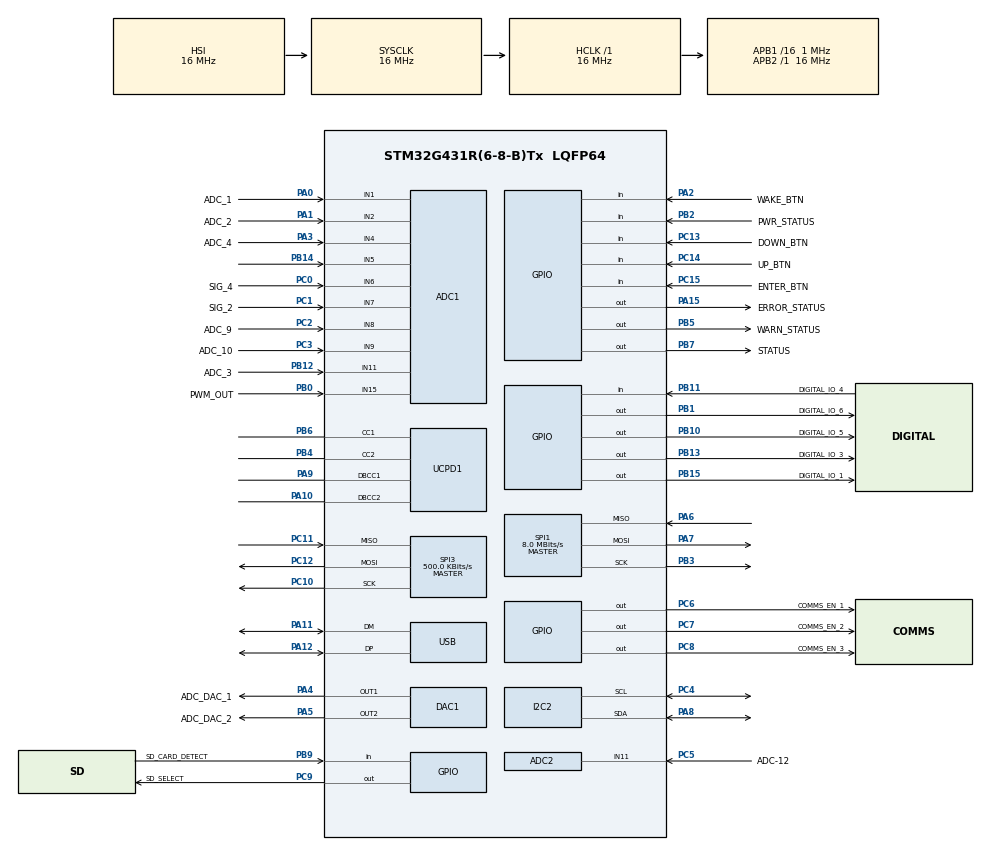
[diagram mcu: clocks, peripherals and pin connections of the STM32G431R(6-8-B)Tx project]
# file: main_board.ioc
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ADC1.Channel-0\#ChannelRegularConversion=ADC_CHANNEL_1
ADC1.NbrOfConversionFlag=1
ADC1.OffsetNumber-0\#ChannelRegularConversion=ADC_OFFSET_NONE
ADC1.Rank-0\#ChannelRegularConversion=1
ADC1.SamplingTime-0\#ChannelRegularConversion=ADC_SAMPLETIME_2CYCLES_5
ADC1.master=1
ADC2.Channel-0\#ChannelRegularConversion=ADC_CHANNEL_11
ADC2.NbrOfConversionFlag=1
ADC2.OffsetNumber-0\#ChannelRegularConversion=ADC_OFFSET_NONE
ADC2.Rank-0\#ChannelRegularConversion=1
ADC2.SamplingTime-0\#ChannelRegularConversion=ADC_SAMPLETIME_2CYCLES_5
DAC1.DAC_Channel-DAC_OUT2=DAC_CHANNEL_2
I2C2.Timing=0x00000103
Mcu.Family=STM32G4
Mcu.Name=STM32G431R(6-8-B)Tx
Mcu.Package=LQFP64
NVIC.PriorityGroup=NVIC_PRIORITYGROUP_4
PA0.GPIO_Label=ADC_1
PA0.Mode=IN1-Single-Ended
PA0.Signal=ADC1_IN1
PA1.GPIO_Label=ADC_2
PA1.Mode=IN2-Single-Ended
PA1.Signal=ADC1_IN2
PA10.Mode=EnableDeadBattery
PA10.Signal=UCPD1_DBCC2
PA11.Mode=Device
PA11.Signal=USB_DM
PA12.Mode=Device
PA12.Signal=USB_DP
PA13.Mode=Serial_Wire
PA13.Signal=SYS_JTMS-SWDIO
PA14.Mode=Serial_Wire
PA14.Signal=SYS_JTCK-SWCLK
PA15.GPIO_Label=ERROR_STATUS
PA15.GPIO_ModeDefaultOutputPP=GPIO_MODE_OUTPUT_PP
PA15.GPIO_PuPd=GPIO_PULLDOWN
PA15.Signal=GPIO_Output
PA2.GPIO_Label=WAKE_BTN
PA2.Signal=GPIO_Input
PA3.GPIO_Label=ADC_4
PA3.Mode=IN4-Single-Ended
PA3.Signal=ADC1_IN4
PA4.GPIO_Label=ADC_DAC_1
PA4.Signal=COMP_DAC11_group
PA5.GPIO_Label=ADC_DAC_2
PA5.Signal=COMP_DAC12_group
PA6.Mode=Full_Duplex_Master
PA6.Signal=SPI1_MISO
PA7.Mode=Full_Duplex_Master
PA7.Signal=SPI1_MOSI
PA8.Mode=I2C
PA8.Signal=I2C2_SDA
PA9.Mode=EnableDeadBattery
PA9.Signal=UCPD1_DBCC1
PB0.GPIO_Label=PWM_OUT
PB0.Mode=IN15-Single-Ended
PB0.Signal=ADC1_IN15
PB1.GPIO_Label=DIGITAL_IO_6
PB1.Signal=GPIO_Output
PB10.GPIO_Label=DIGITAL_IO_5
PB10.Signal=GPIO_Output
PB11.GPIO_Label=DIGITAL_IO_4
PB11.Signal=GPIO_Input
PB12.GPIO_Label=ADC_3
PB12.Mode=IN11-Single-Ended
PB12.Signal=ADC1_IN11
PB13.GPIO_Label=DIGITAL_IO_3
PB13.Signal=GPIO_Output
PB14.Mode=IN5-Single-Ended
PB14.Signal=ADC1_IN5
PB15.GPIO_Label=DIGITAL_IO_1
PB15.Signal=GPIO_Output
PB2.GPIO_Label=PWR_STATUS
PB2.Signal=GPIO_Input
PB3.Signal=SharedStack_PB3
PB3.Stacked=true
PB4.Mode=Sink_AllSignals
PB4.Signal=UCPD1_CC2
PB5.GPIO_Label=WARN_STATUS
PB5.GPIO_PuPd=GPIO_PULLDOWN
PB5.Signal=GPIO_Output
PB6.Mode=Sink_AllSignals
PB6.Signal=UCPD1_CC1
PB7.GPIO_Label=STATUS
PB7.GPIO_PuPd=GPIO_PULLDOWN
PB7.Signal=GPIO_Output
PB9.GPIO_Label=SD_CARD_DETECT
PB9.Signal=GPIO_Input
PC0.GPIO_Label=SIG_4
PC0.Mode=IN6-Single-Ended
PC0.Signal=ADC1_IN6
PC1.GPIO_Label=SIG_2
PC1.Mode=IN7-Single-Ended
PC1.Signal=ADC1_IN7
PC10.Mode=Full_Duplex_Master
PC10.Signal=SPI3_SCK
PC11.Mode=Full_Duplex_Master
PC11.Signal=SPI3_MISO
PC12.Mode=Full_Duplex_Master
PC12.Signal=SPI3_MOSI
PC13.GPIO_Label=DOWN_BTN
PC13.Signal=GPIO_Input
PC14-OSC32_IN.GPIO_Label=UP_BTN
PC14-OSC32_IN.Signal=GPIO_Input
PC15-OSC32_OUT.GPIO_Label=ENTER_BTN
PC15-OSC32_OUT.Signal=GPIO_Input
PC2.GPIO_Label=ADC_9
PC2.Mode=IN8-Single-Ended
PC2.Signal=ADC1_IN8
PC3.GPIO_Label=ADC_10
PC3.Mode=IN9-Single-Ended
PC3.Signal=ADC1_IN9
PC4.Mode=I2C
PC4.Signal=I2C2_SCL
PC5.GPIO_Label=ADC-12
PC5.Mode=IN11-Single-Ended
PC5.Signal=ADC2_IN11
PC6.GPIO_Label=COMMS_EN_1
PC6.Signal=GPIO_Output
PC7.GPIO_Label=COMMS_EN_2
PC7.Signal=GPIO_Output
PC8.GPIO_Label=COMMS_EN_3
PC8.Signal=GPIO_Output
PC9.GPIO_Label=SD_SELECT
PC9.Signal=GPIO_Output
PF0-OSC_IN.Mode=HSE-External-Oscillator
PF0-OSC_IN.Signal=RCC_OSC_IN
PF1-OSC_OUT.Mode=HSE-External-Oscillator
PF1-OSC_OUT.Signal=RCC_OSC_OUT
ProjectManager.HeapSize=0x200
ProjectManager.StackSize=0x400
ProjectManager.TargetToolchain=STM32CubeIDE
RCC.AHBFreq_Value=16000000
RCC.APB1CLKDivider=RCC_HCLK_DIV16
RCC.APB1Freq_Value=1000000
RCC.APB1TimFreq_Value=2000000
RCC.APB2Freq_Value=16000000
RCC.APB2TimFreq_Value=16000000
RCC.CortexFreq_Value=16000000
RCC.EXTERNAL_CLOCK_VALUE=12288000
RCC.HCLKFreq_Value=16000000
RCC.HSE_VALUE=8000000
RCC.HSI48_VALUE=48000000
RCC.HSI_VALUE=16000000
RCC.LSE_VALUE=32768
RCC.PLLN=12
RCC.PLLQ=RCC_PLLQ_DIV4
RCC.SYSCLKFreq_VALUE=16000000
RCC.USBFreq_Value=48000000
RCC.VCOOutputFreq_Value=192000000
SH.COMP_DAC11_group.0=DAC1_OUT1,DAC_OUT1
SH.COMP_DAC12_group.0=DAC1_OUT2,DAC_OUT2
SH.SharedStack_PB3.0=SPI1_SCK,Full_Duplex_Master
SH.SharedStack_PB3.1=SYS_JTDO-SWO
SPI1.CalculateBaudRate=8.0 MBits/s
SPI1.DataSize=SPI_DATASIZE_8BIT
SPI1.Direction=SPI_DIRECTION_2LINES
SPI1.Mode=SPI_MODE_MASTER
SPI1.VirtualType=VM_MASTER
SPI3.CalculateBaudRate=500.0 KBits/s
SPI3.Direction=SPI_DIRECTION_2LINES
SPI3.Mode=SPI_MODE_MASTER
SPI3.VirtualType=VM_MASTER
VP_ADC1_Vbat_Input.Mode=IN-Vbat
VP_SYS_VS_DBSignals.Mode=DisableDeadBatterySignals
board=custom

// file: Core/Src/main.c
/* USER CODE BEGIN Header */
/**
  ******************************************************************************
  * @file           : main.c
  * @brief          : Main program body
  ******************************************************************************
  * @attention
  *
  * Copyright (c) 2024 STMicroelectronics.
  * All rights reserved.
  *
  * This software is licensed under terms that can be found in the LICENSE file
  * in the root directory of this software component.
  * If no LICENSE file comes with this software, it is provided AS-IS.
  *
  ******************************************************************************
  */
/* USER CODE END Header */
#include "main.h"
#include "adc.h"
#include "dac.h"
#include "i2c.h"
#include "spi.h"
#include "ucpd.h"
#include "usb.h"
#include "gpio.h"

#define MCP9804_ADDR 0b0011100 // the last 3 digits change for each pin
#define MCP9804_REG_TEMP 0x05

uint16_t Size = 8;

/*FATFS SDFatFs;    // File system object for SD card logical drive
FIL MyFile;       // File object
char SDPath[4];   // SD card logical drive path*/
/* USER CODE BEGIN PV */
static void MX_SDMMC1_SD_Init(void);

int32_t readMCP9804Temp(void) {
    uint8_t tempReg[2] = {0};
    //HAL_I2C_Mem_Read(&hi2c2, MCP9804_ADDR, MCP9804_REG_TEMP, I2C_MEMADD_SIZE_8BIT, tempReg, 2, HAL_MAX_DELAY); // unchecked. &hi2c2 depends on what conector to chip
    HAL_I2C_Master_Receive(&hi2c2, MCP9804_ADDR, &tempReg, Size,  HAL_MAX_DELAY);
    uint16_t tempRaw = (tempReg[0] << 8) | tempReg[1];
    tempRaw &= 0x0FFF;  // Clear flags and keep 12 bits

    int32_t tempC = tempRaw & 0x0FFF;
    tempC /= 16.0;

    if (tempRaw & 0x1000) {  // Check sign bit
        tempC -= 256.0;
    }

    return tempC;
}

/* USER CODE END PV */

void SystemClock_Config(void);

I2C_HandleTypeDef hi2c1;

int main(void)
{

  /* MCU Configuration--------------------------------------------------------*/

  /* Reset of all peripherals, Initializes the Flash interface and the Systick. */
  HAL_Init();

  /* Configure the system clock */
  SystemClock_Config();

  /* Initialize all configured peripherals */
  MX_GPIO_Init();
  MX_ADC1_Init();
  MX_ADC2_Init();
  MX_DAC1_Init();
  MX_SPI1_Init();
  MX_SPI3_Init();
  MX_UCPD1_Init();
  MX_USB_PCD_Init();
  MX_I2C2_Init();
  /* USER CODE BEGIN 2 */
  /*int32_t SDwrite;
  UINT bytesWritten;*/

  uint32_t status = HAL_ERROR;

  uint8_t dataToSend = 0x5; // Example data

  int32_t temp;

  HAL_StatusTypeDef sts = HAL_OK;

  HAL_GPIO_WritePin(STATUS_GPIO_Port, STATUS_Pin, GPIO_PIN_SET); // Turn off success LED
  HAL_GPIO_WritePin(WARN_STATUS_GPIO_Port, WARN_STATUS_Pin, GPIO_PIN_SET); // Turn off error LED
  HAL_GPIO_WritePin(ERROR_STATUS_GPIO_Port, ERROR_STATUS_Pin, GPIO_PIN_SET); // Turn off error LED

  if (HAL_I2C_Init(&hi2c1) != HAL_OK) {
          // Initialization error
	  HAL_GPIO_WritePin(STATUS_GPIO_Port, STATUS_Pin, GPIO_PIN_RESET); // Turn off success LED
      }
  uint8_t tempRegAddr = 0x05;
  /* USER CODE END 2 */

  /* Infinite loop */
  /* USER CODE BEGIN WHILE */
  while (1)
  {// mototola or TIS versions who knows which is on or compatable with arduino due to (Frame Formats) for spi
    /* USER CODE END WHILE */
	  /*if (HAL_GPIO_ReadPin(GPIOC, GPIO_PIN_14))
	  {
		  HAL_GPIO_WritePin(GPIOB, GPIO_PIN_15, GPIO_PIN_RESET);
	  }
	  else
	  {
		  HAL_GPIO_WritePin(GPIOB, GPIO_PIN_15, GPIO_PIN_SET);
	  }*/

	HAL_Delay(1000);
	HAL_GPIO_WritePin(GPIOC, GPIO_PIN_8, GPIO_PIN_SET); // CS low Digital IO 1 COMM_EN_3
	status = HAL_SPI_Transmit(&hspi1, &dataToSend, 1, HAL_MAX_DELAY);  // Transmit is unsuccessful??? maybe working but no output on arduino
	HAL_GPIO_WritePin(GPIOC, GPIO_PIN_8, GPIO_PIN_RESET); // CS high Digital IO 1 COMM_EN_3

	if (status == HAL_OK)
	{
		HAL_GPIO_WritePin(STATUS_GPIO_Port, STATUS_Pin, GPIO_PIN_RESET); // Turn on success LED
		HAL_GPIO_WritePin(WARN_STATUS_GPIO_Port, WARN_STATUS_Pin, GPIO_PIN_SET); // Turn of error LED
		HAL_GPIO_WritePin(ERROR_STATUS_GPIO_Port, ERROR_STATUS_Pin, GPIO_PIN_SET); // Turn of error LED
	} else if (status == HAL_BUSY){
		HAL_GPIO_WritePin(ERROR_STATUS_GPIO_Port, ERROR_STATUS_Pin, GPIO_PIN_SET); // Turn of error LED
		HAL_GPIO_WritePin(WARN_STATUS_GPIO_Port, WARN_STATUS_Pin, GPIO_PIN_RESET); // Turn on error LED
		HAL_GPIO_WritePin(STATUS_GPIO_Port, STATUS_Pin, GPIO_PIN_SET); // Turn of success LED
	}
	else
	{
		HAL_GPIO_WritePin(ERROR_STATUS_GPIO_Port, ERROR_STATUS_Pin, GPIO_PIN_RESET); // Turn on error LED
		HAL_GPIO_WritePin(WARN_STATUS_GPIO_Port, WARN_STATUS_Pin, GPIO_PIN_SET); // Turn of error LED
		HAL_GPIO_WritePin(STATUS_GPIO_Port, STATUS_Pin, GPIO_PIN_SET); // Turn of success LED
	}

	/*
	HAL_Delay(1000);
	uint8_t tempData[2] = {0};
	if (HAL_I2C_Master_Transmit(&hi2c1, MCP9804_ADDR, &tempRegAddr, 1, HAL_MAX_DELAY) != HAL_OK) { // transmit is successfull
		// Transmission error
		HAL_GPIO_WritePin(ERROR_STATUS_GPIO_Port, ERROR_STATUS_Pin, GPIO_PIN_RESET); // Turn on success LED
	}

	// Receive the temperature data
	//if (HAL_I2C_Master_Receive(&hi2c1, MCP9804_ADDR, tempData, 2, HAL_MAX_DELAY) != HAL_OK) { // Receive is unsuccessfull
		// Reception error
		//HAL_GPIO_WritePin(WARN_STATUS_GPIO_Port, WARN_STATUS_Pin, GPIO_PIN_RESET); // Turn on error LED
	//}
	uint16_t rawTemp = (tempData[0] << 8) | tempData[1];
	if (HAL_I2C_IsDeviceReady (&hi2c1, MCP9804_ADDR, 1, HAL_MAX_DELAY) != HAL_OK) { // Ready is unsuccessfull
			// Reception error
			HAL_GPIO_WritePin(WARN_STATUS_GPIO_Port, WARN_STATUS_Pin, GPIO_PIN_RESET); // Turn on error LED
		}
	*/

	/*
	uint8_t tempReg[2] = {0};

	sts = HAL_I2C_Master_Receive(&hi2c2, MCP9804_ADDR, &tempReg, Size,  HAL_MAX_DELAY);
	uint16_t tempRaw = (tempReg[0] << 8) | tempReg[1];
	tempRaw &= 0x0FFF;  // Clear flags and keep 12 bits

	int32_t tempC = tempRaw & 0x0FFF;
	tempC /= 16.0;

	if (tempRaw & 0x1000) {  // Check sign bit
	  tempC -= 256.0;
	}
	*/
	  /*
	HAL_GPIO_WritePin(GPIOB, GPIO_PIN_15, GPIO_PIN_SET); // CS high Digital IO 1
    status = HAL_SPI_Transmit(&hspi1, &dataToSend, 1, HAL_MAX_DELAY);
    HAL_GPIO_WritePin(GPIOB, GPIO_PIN_15, GPIO_PIN_RESET); // CS high Digital IO 0
	HAL_I2C_Mem_Read(&hi2c2, MCP9804_ADDR, MCP9804_REG_TEMP, I2C_MEMADD_SIZE_8BIT, tempReg, 2, HAL_MAX_DELAY); // unchecked. &hi2c2 depends on what conector to chip
	if (sts == HAL_OK)
	{
	HAL_GPIO_WritePin(ERROR_STATUS_GPIO_Port, ERROR_STATUS_Pin, GPIO_PIN_RESET); // Turn on success LED
	}
	else
	{
	HAL_GPIO_WritePin(WARN_STATUS_GPIO_Port, WARN_STATUS_Pin, GPIO_PIN_RESET); // Turn on error LED
	}

	/*if (tempC >= 0)
	{
	HAL_GPIO_WritePin(STATUS_GPIO_Port, STATUS_Pin, GPIO_PIN_RESET); // Turn on success LED
	}
	else
	{
	HAL_GPIO_WritePin(STATUS_GPIO_Port, STATUS_Pin, GPIO_PIN_SET); // Turn on error LED
	}*/

  }
}

void SystemClock_Config(void)
{
  RCC_OscInitTypeDef RCC_OscInitStruct = {0};
  RCC_ClkInitTypeDef RCC_ClkInitStruct = {0};

  /** Configure the main internal regulator output voltage
  */
  HAL_PWREx_ControlVoltageScaling(PWR_REGULATOR_VOLTAGE_SCALE1);

  /** Initializes the RCC Oscillators according to the specified parameters
  * in the RCC_OscInitTypeDef structure.
  */
  RCC_OscInitStruct.OscillatorType = RCC_OSCILLATORTYPE_HSI;
  RCC_OscInitStruct.HSIState = RCC_HSI_ON;
  RCC_OscInitStruct.HSICalibrationValue = RCC_HSICALIBRATION_DEFAULT;
  RCC_OscInitStruct.PLL.PLLState = RCC_PLL_ON;
  RCC_OscInitStruct.PLL.PLLSource = RCC_PLLSOURCE_HSI;
  RCC_OscInitStruct.PLL.PLLM = RCC_PLLM_DIV1;
  RCC_OscInitStruct.PLL.PLLN = 12;
  RCC_OscInitStruct.PLL.PLLP = RCC_PLLP_DIV2;
  RCC_OscInitStruct.PLL.PLLQ = RCC_PLLQ_DIV4;
  RCC_OscInitStruct.PLL.PLLR = RCC_PLLR_DIV2;
  if (HAL_RCC_OscConfig(&RCC_OscInitStruct) != HAL_OK)
  {
    Error_Handler();
  }

  /** Initializes the CPU, AHB and APB buses clocks
  */
  RCC_ClkInitStruct.ClockType = RCC_CLOCKTYPE_HCLK|RCC_CLOCKTYPE_SYSCLK
                              |RCC_CLOCKTYPE_PCLK1|RCC_CLOCKTYPE_PCLK2;
  RCC_ClkInitStruct.SYSCLKSource = RCC_SYSCLKSOURCE_HSI;
  RCC_ClkInitStruct.AHBCLKDivider = RCC_SYSCLK_DIV1;
  RCC_ClkInitStruct.APB1CLKDivider = RCC_HCLK_DIV16;
  RCC_ClkInitStruct.APB2CLKDivider = RCC_HCLK_DIV1;

  if (HAL_RCC_ClockConfig(&RCC_ClkInitStruct, FLASH_LATENCY_0) != HAL_OK)
  {
    Error_Handler();
  }
}

void Error_Handler(void)
{
  __disable_irq();
  while (1)
  {
  }
}
